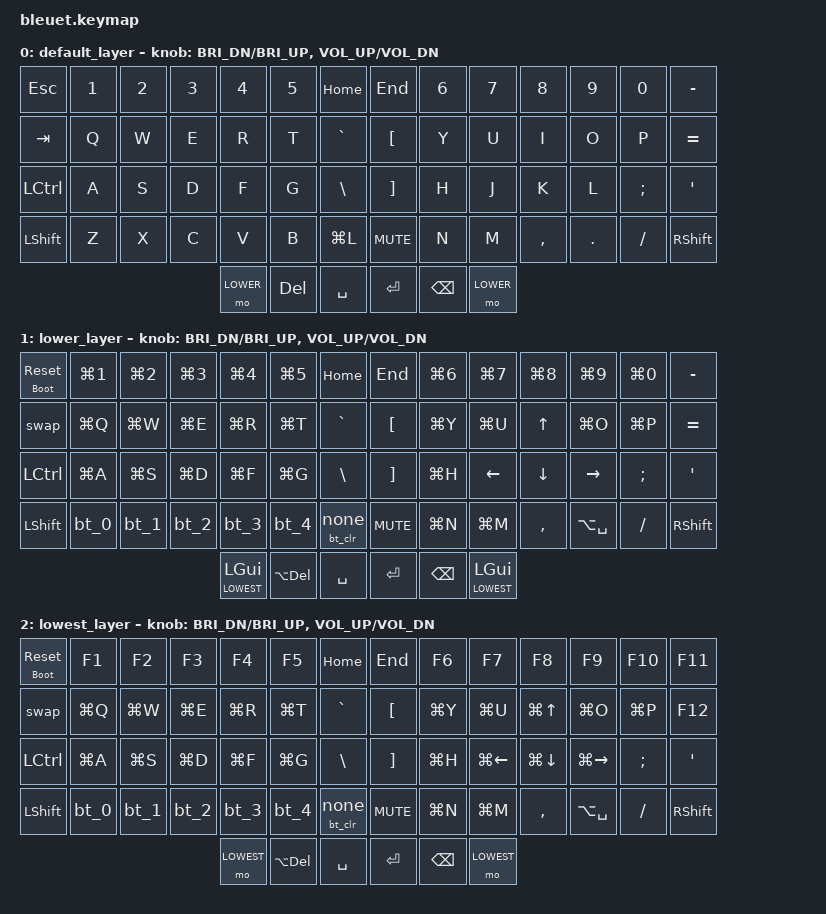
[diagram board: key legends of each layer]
/*
 * Copyright (c) 2020 The ZMK Contributors
 *
 * SPDX-License-Identifier: MIT
 */

#include <behaviors.dtsi>
#include <dt-bindings/zmk/keys.h>
#include <dt-bindings/zmk/bt.h>
#include <dt-bindings/zmk/outputs.h>

#define BASE 0
#define LOWER 1
#define LOWEST 2

/ {
    macros {
        bt_clr: bt-macro {
            compatible = "zmk,behavior-macro";
            #binding-cells = <0>;
            bindings = <&macro_tap &bt BT_CLR>;
        };
        bt_0: bt-sel-0 {
            compatible = "zmk,behavior-macro";
            #binding-cells = <0>;
            bindings = <&macro_tap &out OUT_USB &bt BT_ADV_OFF &bt BT_DISC 1 &bt BT_DISC 2 &bt BT_DISC 3 &bt BT_DISC 4>;
        };
        bt_1: bt-sel-1 {
            compatible = "zmk,behavior-macro";
            #binding-cells = <0>;
            bindings = <&macro_tap &out OUT_BLE &bt BT_ADV_ON &bt BT_SEL 1>;
        };
        bt_2: bt-sel-2 {
            compatible = "zmk,behavior-macro";
            #binding-cells = <0>;
            bindings = <&macro_tap &out OUT_BLE &bt BT_ADV_ON &bt BT_SEL 2>;
        };
        bt_3: bt-sel-3 {
            compatible = "zmk,behavior-macro";
            #binding-cells = <0>;
            bindings = <&macro_tap &out OUT_BLE &bt BT_ADV_ON &bt BT_SEL 3>;
        };
        bt_4: bt-sel-4 {
            compatible = "zmk,behavior-macro";
            #binding-cells = <0>;
            bindings = <&macro_tap &out OUT_BLE &bt BT_ADV_ON &bt BT_SEL 4>;
        };
    };

    behaviors {
        bt_lp: behavior_bt_lp {
            compatible = "zmk,behavior-hold-tap";
            #binding-cells = <2>;
            flavor = "tap-preferred";
            tapping-term-ms = <1000>;
            bindings = <&bt_clr>, <&none>;
        };
        rst_lp: behavior_rst_lp {
            compatible = "zmk,behavior-hold-tap";
            #binding-cells = <2>;
            flavor = "tap-preferred";
            tapping-term-ms = <1000>;
            bindings = <&bootloader>, <&sys_reset>;
        };
    };

    swap: swapper {
        compatible = "zmk,behavior-tri-state";
        #binding-cells = <0>;
        bindings = <&kt LALT>, <&kp TAB>, <&kt LALT>;
        ignored-key-positions = <42 55>;
    };

    keymap {
        compatible = "zmk,keymap";

        default_layer {
// ┏━━━━━┳━━━━━┳━━━━━┳━━━━━┳━━━━━┳━━━━━┳━━━━━┓            ┏━━━━━┳━━━━━┳━━━━━┳━━━━━┳━━━━━┳━━━━━┳━━━━━┓
// ┃ ESC ┃  1  ┃  2  ┃  3  ┃  4  ┃  5  ┃ HOME┃            ┃ END ┃  6  ┃  7  ┃  8  ┃  9  ┃  0  ┃  -  ┃
// ┣━━━━━╋━━━━━╋━━━━━╋━━━━━╋━━━━━╋━━━━━╋━━━━━┫            ┣━━━━━╋━━━━━╋━━━━━╋━━━━━╋━━━━━╋━━━━━╋━━━━━┫
// ┃ TAB ┃  Q  ┃  W  ┃  E  ┃  R  ┃  T  ┃  `  ┃            ┃  [  ┃  Y  ┃  U  ┃  I  ┃  O  ┃  P  ┃  =  ┃
// ┣━━━━━╋━━━━━╋━━━━━╋━━━━━╋━━━━━╋━━━━━╋━━━━━┫            ┣━━━━━╋━━━━━╋━━━━━╋━━━━━╋━━━━━╋━━━━━╋━━━━━┫
// ┃ CTRL┃  A  ┃  S  ┃  D  ┃  F  ┃  G  ┃  \  ┃            ┃  ]  ┃  H  ┃  J  ┃  K  ┃  L  ┃  ;  ┃  '  ┃
// ┣━━━━━╋━━━━━╋━━━━━╋━━━━━╋━━━━━╋━━━━━╋━━━━━┫<BRT+  VOL+>┣━━━━━╋━━━━━╋━━━━━╋━━━━━╋━━━━━╋━━━━━╋━━━━━┫
// ┃ SHFT┃  Z  ┃  X  ┃  C  ┃  V  ┃  B  ┃SLEEP┃┃          ┃┃MUTE ┃  N  ┃  M  ┃  ,  ┃  .  ┃  /  ┃SHFT ┃
// ┗━━━━━┻━━━━━┻━━━━━┻━━━━━╋━━━━━╋━━━━━╋━━━━━┫<BRT-  VOL->┣━━━━━╋━━━━━╋━━━━━╋━━━━━┻━━━━━┻━━━━━┻━━━━━┛
//                         ┃ LWR ┃ DEL ┃ SPC ┃            ┃ ENT ┃ BSP ┃ LWR ┃
//                         ┗━━━━━┻━━━━━┻━━━━━┛            ┗━━━━━┻━━━━━┻━━━━━┛
            bindings = <
&kp ESC   &kp N1 &kp N2 &kp N3 &kp N4    &kp N5  &kp HOME       &kp END    &kp N6   &kp N7    &kp N8    &kp N9   &kp N0   &kp MINUS
&kp TAB   &kp Q  &kp W  &kp E  &kp R     &kp T   &kp GRAVE      &kp LBKT   &kp Y    &kp U     &kp I     &kp O    &kp P    &kp EQUAL
&kp LCTRL &kp A  &kp S  &kp D  &kp F     &kp G   &kp BSLH       &kp RBKT   &kp H    &kp J     &kp K     &kp L    &kp SEMI &kp SQT
&kp LSHFT &kp Z  &kp X  &kp C  &kp V     &kp B   &kp LG(L)      &kp C_MUTE &kp N    &kp M     &kp COMMA &kp DOT  &kp FSLH &kp RSHFT
                               &mo LOWER &kp DEL &kp SPACE      &kp ENTER  &kp BSPC &mo LOWER
            >;

            sensor-bindings = <&inc_dec_kp C_BRI_DN C_BRI_UP &inc_dec_kp C_VOL_UP C_VOL_DN>;
        };

        lower_layer {
// ┏━━━━━┳━━━━━┳━━━━━┳━━━━━┳━━━━━┳━━━━━┳━━━━━┓            ┏━━━━━┳━━━━━┳━━━━━┳━━━━━┳━━━━━┳━━━━━┳━━━━━┓
// ┃ RST ┃ Win1┃ Win2┃ Win3┃ Win4┃ Win5┃ HOME┃            ┃ END ┃Win6 ┃Win7 ┃Win8 ┃Win9 ┃Win0 ┃  -  ┃
// ┣━━━━━╋━━━━━╋━━━━━╋━━━━━╋━━━━━╋━━━━━╋━━━━━┫            ┣━━━━━╋━━━━━╋━━━━━╋━━━━━╋━━━━━╋━━━━━╋━━━━━┫
// ┃AlTAB┃ WinQ┃ WinW┃ WinE┃ WinR┃ WinT┃  `  ┃            ┃  [  ┃WinY ┃WinU ┃  ↑  ┃WinO ┃WinP ┃  =  ┃
// ┣━━━━━╋━━━━━╋━━━━━╋━━━━━╋━━━━━╋━━━━━╋━━━━━┫            ┣━━━━━╋━━━━━╋━━━━━╋━━━━━╋━━━━━╋━━━━━╋━━━━━┫
// ┃ CTRL┃ WinA┃ WinS┃ WinD┃ WinF┃ WinG┃  \  ┃            ┃  ]  ┃WinH ┃  ←  ┃  ↓  ┃  →  ┃  ;  ┃  '  ┃
// ┣━━━━━╋━━━━━╋━━━━━╋━━━━━╋━━━━━╋━━━━━╋━━━━━┫<BRT+  VOL+>┣━━━━━╋━━━━━╋━━━━━╋━━━━━╋━━━━━╋━━━━━╋━━━━━┫
// ┃ SHFT┃ BT0 ┃ BT1 ┃ BT2 ┃ BT3 ┃ BT4 ┃BTCLR┃┃          ┃┃MUTE ┃WinN ┃WinM ┃  ,  ┃EMOJI┃  /  ┃SHFT ┃
// ┗━━━━━┻━━━━━┻━━━━━┻━━━━━╋━━━━━╋━━━━━╋━━━━━┫<BRT-  VOL->┣━━━━━╋━━━━━╋━━━━━╋━━━━━┻━━━━━┻━━━━━┻━━━━━┛
//                         ┃ Win ┃AltDL┃ SPC ┃            ┃ ENT ┃ BSP ┃ Win ┃
//                         ┗━━━━━┻━━━━━┻━━━━━┛            ┗━━━━━┻━━━━━┻━━━━━┛
            bindings = <
&rst_lp 0 0 &kp LG(N1) &kp LG(N2) &kp LG(N3) &kp LG(N4)      &kp LG(N5)  &kp HOME       &kp END    &kp LG(N6) &kp LG(N7)      &kp LG(N8) &kp LG(N9)  &kp LG(N0) &kp MINUS
&swap       &kp LG(Q)  &kp LG(W)  &kp LG(E)  &kp LG(R)       &kp LG(T)   &kp GRAVE      &kp LBKT   &kp LG(Y)  &kp LG(U)       &kp UP     &kp LG(O)   &kp LG(P)  &kp EQUAL
&kp LCTRL   &kp LG(A)  &kp LG(S)  &kp LG(D)  &kp LG(F)       &kp LG(G)   &kp BSLH       &kp RBKT   &kp LG(H)  &kp LEFT        &kp DOWN   &kp RIGHT   &kp SEMI   &kp SQT
&kp LSHFT   &bt_0      &bt_1      &bt_2      &bt_3           &bt_4       &bt_lp 0 0     &kp C_MUTE &kp LG(N)  &kp LG(M)       &kp COMMA  &kp LA(SPC) &kp FSLH   &kp RSHFT
                                             &lt LOWEST LGUI &kp LA(DEL) &kp SPACE      &kp ENTER  &kp BSPC   &lt LOWEST LGUI
            >;

            sensor-bindings = <&inc_dec_kp C_BRI_DN C_BRI_UP &inc_dec_kp C_VOL_UP C_VOL_DN>;
        };

        lowest_layer {
// ┏━━━━━┳━━━━━┳━━━━━┳━━━━━┳━━━━━┳━━━━━┳━━━━━┓            ┏━━━━━┳━━━━━┳━━━━━┳━━━━━┳━━━━━┳━━━━━┳━━━━━┓
// ┃ RST ┃  F1 ┃  F2 ┃  F3 ┃  F4 ┃  F5 ┃ HOME┃            ┃ END ┃ F6  ┃ F7  ┃ F8  ┃ F9  ┃ F10 ┃ F11 ┃
// ┣━━━━━╋━━━━━╋━━━━━╋━━━━━╋━━━━━╋━━━━━╋━━━━━┫            ┣━━━━━╋━━━━━╋━━━━━╋━━━━━╋━━━━━╋━━━━━╋━━━━━┫
// ┃AlTAB┃ WinQ┃ WinW┃ WinE┃ WinR┃ WinT┃  `  ┃            ┃  [  ┃WinY ┃WinU ┃  ↑  ┃WinO ┃WinP ┃ F12 ┃
// ┣━━━━━╋━━━━━╋━━━━━╋━━━━━╋━━━━━╋━━━━━╋━━━━━┫            ┣━━━━━╋━━━━━╋━━━━━╋━━━━━╋━━━━━╋━━━━━╋━━━━━┫
// ┃ CTRL┃ WinA┃ WinS┃ WinD┃ WinF┃ WinG┃  \  ┃            ┃  ]  ┃WinH ┃  ←  ┃  ↓  ┃  →  ┃  ;  ┃  '  ┃
// ┣━━━━━╋━━━━━╋━━━━━╋━━━━━╋━━━━━╋━━━━━╋━━━━━┫<BRT+  VOL+>┣━━━━━╋━━━━━╋━━━━━╋━━━━━╋━━━━━╋━━━━━╋━━━━━┫
// ┃ SHFT┃ BT0 ┃ BT1 ┃ BT2 ┃ BT3 ┃ BT4 ┃BTCLR┃┃          ┃┃MUTE ┃WinN ┃WinM ┃  ,  ┃EMOJI┃  /  ┃SHFT ┃
// ┗━━━━━┻━━━━━┻━━━━━┻━━━━━╋━━━━━╋━━━━━╋━━━━━┫<BRT-  VOL->┣━━━━━╋━━━━━╋━━━━━╋━━━━━┻━━━━━┻━━━━━┻━━━━━┛
//                         ┃ Win ┃AltDL┃ SPC ┃            ┃ ENT ┃ BSP ┃ Win ┃
//                         ┗━━━━━┻━━━━━┻━━━━━┛            ┗━━━━━┻━━━━━┻━━━━━┛
            bindings = <
&rst_lp 0 0 &kp F1    &kp F2    &kp F3    &kp F4     &kp F5      &kp HOME       &kp END    &kp F6    &kp F7       &kp F8       &kp F9        &kp F10   &kp F11
&swap       &kp LG(Q) &kp LG(W) &kp LG(E) &kp LG(R)  &kp LG(T)   &kp GRAVE      &kp LBKT   &kp LG(Y) &kp LG(U)    &kp LG(UP)   &kp LG(O)     &kp LG(P) &kp F12
&kp LCTRL   &kp LG(A) &kp LG(S) &kp LG(D) &kp LG(F)  &kp LG(G)   &kp BSLH       &kp RBKT   &kp LG(H) &kp LG(LEFT) &kp LG(DOWN) &kp LG(RIGHT) &kp SEMI  &kp SQT
&kp LSHFT   &bt_0     &bt_1     &bt_2     &bt_3      &bt_4       &bt_lp 0 0     &kp C_MUTE &kp LG(N) &kp LG(M)    &kp COMMA    &kp LA(SPC)   &kp FSLH  &kp RSHFT
                                          &mo LOWEST &kp LA(DEL) &kp SPACE      &kp ENTER  &kp BSPC  &mo LOWEST
            >;

            sensor-bindings = <&inc_dec_kp C_BRI_DN C_BRI_UP &inc_dec_kp C_VOL_UP C_VOL_DN>;
        };
    };
};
